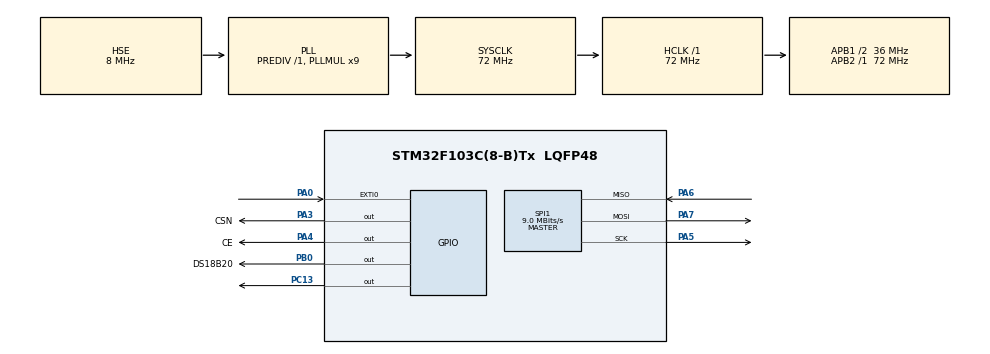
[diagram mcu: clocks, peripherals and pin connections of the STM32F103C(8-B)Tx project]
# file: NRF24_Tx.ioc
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Mcu.Family=STM32F1
Mcu.Name=STM32F103C(8-B)Tx
Mcu.Package=LQFP48
NVIC.EXTI0_IRQn=true\:0\:0\:false\:false\:true\:true\:true\:true
NVIC.PriorityGroup=NVIC_PRIORITYGROUP_4
NVIC.SPI1_IRQn=true\:0\:0\:false\:false\:true\:true\:true\:true
NVIC.TIM2_IRQn=true\:0\:0\:false\:false\:true\:true\:true\:true
PA0-WKUP.GPIO_ModeDefaultEXTI=GPIO_MODE_IT_FALLING
PA0-WKUP.Signal=GPXTI0
PA13.Mode=Serial_Wire
PA13.Signal=SYS_JTMS-SWDIO
PA14.Mode=Serial_Wire
PA14.Signal=SYS_JTCK-SWCLK
PA3.GPIO_Label=CSN
PA3.GPIO_Speed=GPIO_SPEED_FREQ_HIGH
PA3.PinState=GPIO_PIN_SET
PA3.Signal=GPIO_Output
PA4.GPIO_Label=CE
PA4.GPIO_Speed=GPIO_SPEED_FREQ_HIGH
PA4.Signal=GPIO_Output
PA5.Mode=Full_Duplex_Master
PA5.Signal=SPI1_SCK
PA6.Mode=Full_Duplex_Master
PA6.Signal=SPI1_MISO
PA7.Mode=Full_Duplex_Master
PA7.Signal=SPI1_MOSI
PB0.GPIO_Label=DS18B20
PB0.GPIO_ModeDefaultOutputPP=GPIO_MODE_OUTPUT_OD
PB0.GPIO_PuPd=GPIO_NOPULL
PB0.GPIO_Speed=GPIO_SPEED_FREQ_HIGH
PB0.PinState=GPIO_PIN_SET
PB0.Signal=GPIO_Output
PC13-TAMPER-RTC.Signal=GPIO_Output
PD0-OSC_IN.Mode=HSE-External-Oscillator
PD0-OSC_IN.Signal=RCC_OSC_IN
PD1-OSC_OUT.Mode=HSE-External-Oscillator
PD1-OSC_OUT.Signal=RCC_OSC_OUT
ProjectManager.HeapSize=0x200
ProjectManager.StackSize=0x400
ProjectManager.TargetToolchain=STM32CubeIDE
RCC.AHBFreq_Value=72000000
RCC.APB1CLKDivider=RCC_HCLK_DIV2
RCC.APB1Freq_Value=36000000
RCC.APB1TimFreq_Value=72000000
RCC.APB2Freq_Value=72000000
RCC.APB2TimFreq_Value=72000000
RCC.HCLKFreq_Value=72000000
RCC.PLLMUL=RCC_PLL_MUL9
RCC.PLLSourceVirtual=RCC_PLLSOURCE_HSE
RCC.SYSCLKFreq_VALUE=72000000
RCC.SYSCLKSource=RCC_SYSCLKSOURCE_PLLCLK
RCC.USBFreq_Value=72000000
SPI1.BaudRatePrescaler=SPI_BAUDRATEPRESCALER_8
SPI1.CalculateBaudRate=9.0 MBits/s
SPI1.Direction=SPI_DIRECTION_2LINES
SPI1.Mode=SPI_MODE_MASTER
SPI1.VirtualType=VM_MASTER
TIM2.AutoReloadPreload=TIM_AUTORELOAD_PRELOAD_ENABLE
TIM2.Prescaler=71
VP_TIM2_VS_ClockSourceINT.Mode=Internal
board=custom

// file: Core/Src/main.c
/* USER CODE BEGIN Header */
/**
  ******************************************************************************
  * @file           : main.c
  * @brief          : Main program body - LIBRARY VERSION (TIMER BASED)
  ******************************************************************************
  */
/* USER CODE END Header */

#include "main.h"
#include "spi.h"
#include "tim.h"
#include "gpio.h"

/* USER CODE BEGIN Includes */
#include <string.h>
#include <stdio.h>
#include "NRF24.h"
#include "NRF24_reg_addresses.h"
#include "ds18b20.h" // Nowa biblioteka
/* USER CODE END Includes */

/* USER CODE BEGIN PD */

// Definicje pinów dla biblioteki DS18B20.
// Biblioteka oczekuje tych nazw makr w swoim kodzie.
#define DS18B20_GPIO_Port GPIOB
#define DS18B20_Pin       GPIO_PIN_0

/* USER CODE END PD */

/* USER CODE BEGIN PV */

// Zmienne NRF24
uint8_t tx_address[5] = {0xE7, 0xE7, 0xE7, 0xE7, 0xE7};

// KLUCZ SZYFROWANIA (Może być dowolna liczba 0-255)
#define CRYPTO_KEY 0xA5

// Struktura pakietu (musi być identyczna w Tx i Rx)
// Rozmiar: 4 (temp) + 4 (id) + 2 (crc) = 10 bajtów
// Zmiana: dodane __attribute__((packed))
typedef struct __attribute__((packed)) {
    float temperature;
    uint32_t packet_id;
    uint16_t crc;
} RadioPacket;

RadioPacket myPacket;
uint8_t tx_data[32];
float temperature = 0.0f;

// Prosta funkcja szyfrująca/deszyfrująca (XOR)
void XOR_Cipher(uint8_t* data, uint16_t len) {
    for(int i=0; i<len; i++) {
        data[i] ^= CRYPTO_KEY;
    }
}

uint16_t Calc_CRC(uint8_t* data, uint16_t len) {
    uint16_t sum = 0;
    for(int i=0; i<len; i++) {
        sum += data[i];
    }
    return sum;
}

/* USER CODE END PV */

void SystemClock_Config(void);

/* USER CODE BEGIN 0 */
// Tu było kiedyś DWT i bit-banging. Teraz jest czysto.
/* USER CODE END 0 */

int main(void)
{
  /* MCU Configuration--------------------------------------------------------*/
  HAL_Init();
  SystemClock_Config();

  /* Initialize all configured peripherals */
  MX_GPIO_Init();
  MX_SPI1_Init();

  // WAŻNE: Inicjalizacja TIM2 jest krytyczna dla nowej biblioteki DS18B20!
  // Upewnij się, że w CubeMX Prescaler = 71 (dla 72MHz CPU)
  MX_TIM2_Init();

  /* USER CODE BEGIN 2 */

  // --- INICJALIZACJA NRF24 ---
  csn_high();
  ce_high();
  HAL_Delay(100);

  nrf24_init();
  nrf24_tx_pwr(3);          // Max moc
  nrf24_data_rate(0);       // 1Mbps
  nrf24_set_channel(81);
  nrf24_set_addr_width(5);
  nrf24_open_tx_pipe(tx_address);
  nrf24_stop_listen();      // Tryb nadajnika

  // --- INICJALIZACJA DS18B20 ---
  // Biblioteka sama uruchomi Timer 2 i przeskanuje magistralę
  DS18B20_Init(DS18B20_Resolution_12bits);

  /* USER CODE END 2 */

  /* Infinite loop */
  /* USER CODE BEGIN WHILE */
  uint32_t pck_counter = 0; // Licznik wysłanych pakietów

  while (1)
  {
	  // 1. Rozpocznij konwersję na wszystkich czujnikach
	  	  DS18B20_StartAll();

	  	  // 2. Czekaj na konwersję (dla 12bit to max 750ms)
	  	  HAL_Delay(1000);

	  	  // 3. Odczytaj dane
	  	  DS18B20_ReadAll();

	  	  // 4. Przygotuj dane do wysyłki
	  	  if(DS18B20_Quantity() > 0 && DS18B20_GetTemperature(0, &temperature))
	  	  {
	  		  myPacket.temperature = temperature;
	  	  }
	  	  else
	  	  {
	  		  myPacket.temperature = -999.0f;
	  	  }

	  	  // 5. Wypełnij resztę struktury
	  	  myPacket.packet_id = pck_counter++; // Zwiększ licznik

	  	  // 6. Oblicz Sumę Kontrolną (CRC)
	  	  // Liczymy CRC z całej struktury OPRÓCZ pola crc (ostatnie 2 bajty)
	  	  myPacket.crc = Calc_CRC((uint8_t*)&myPacket, sizeof(RadioPacket) - 2);

	  	  // 7. Kopiuj strukturę do bufora wysyłkowego (tx_data)
	  	  // Musimy skopiować bajty, bo NRF wysyła tablicę uint8_t
	  	  memcpy(tx_data, &myPacket, sizeof(RadioPacket));

	  	  // 8. ZASZYFRUJ (XOR)
	  	  // "Mieszamy" bajty w buforze tx_data przed wysłaniem
	  	  XOR_Cipher(tx_data, sizeof(RadioPacket));

	  	  // 9. Wyślij przez NRF
	  	  // Wysyłamy dokładnie tyle bajtów, ile zajmuje struktura (czyli 10)
	  	  nrf24_transmit(tx_data, sizeof(RadioPacket));

	  	  // Mrugnij diodą dla potwierdzenia życia
	  	  HAL_GPIO_TogglePin(GPIOC, GPIO_PIN_13);

	  	  HAL_Delay(1000);

	      /* USER CODE END WHILE */

  }
}

/* USER CODE BEGIN 4 */
void SystemClock_Config(void)
{
  RCC_OscInitTypeDef RCC_OscInitStruct = {0};
  RCC_ClkInitTypeDef RCC_ClkInitStruct = {0};

  /** Initializes the RCC Oscillators according to the specified parameters
  * in the RCC_OscInitTypeDef structure.
  */
  RCC_OscInitStruct.OscillatorType = RCC_OSCILLATORTYPE_HSE;
  RCC_OscInitStruct.HSEState = RCC_HSE_ON;
  RCC_OscInitStruct.HSEPredivValue = RCC_HSE_PREDIV_DIV1;
  RCC_OscInitStruct.HSIState = RCC_HSI_ON;
  RCC_OscInitStruct.PLL.PLLState = RCC_PLL_ON;
  RCC_OscInitStruct.PLL.PLLSource = RCC_PLLSOURCE_HSE;
  RCC_OscInitStruct.PLL.PLLMUL = RCC_PLL_MUL9;
  if (HAL_RCC_OscConfig(&RCC_OscInitStruct) != HAL_OK)
  {
    Error_Handler();
  }

  /** Initializes the CPU, AHB and APB buses clocks
  */
  RCC_ClkInitStruct.ClockType = RCC_CLOCKTYPE_HCLK|RCC_CLOCKTYPE_SYSCLK
                              |RCC_CLOCKTYPE_PCLK1|RCC_CLOCKTYPE_PCLK2;
  RCC_ClkInitStruct.SYSCLKSource = RCC_SYSCLKSOURCE_PLLCLK;
  RCC_ClkInitStruct.AHBCLKDivider = RCC_SYSCLK_DIV1;
  RCC_ClkInitStruct.APB1CLKDivider = RCC_HCLK_DIV2;
  RCC_ClkInitStruct.APB2CLKDivider = RCC_HCLK_DIV1;

  if (HAL_RCC_ClockConfig(&RCC_ClkInitStruct, FLASH_LATENCY_2) != HAL_OK)
  {
    Error_Handler();
  }
}

void Error_Handler(void)
{
  __disable_irq();
  while (1)
  {
  }
}
/* USER CODE END 4 */
